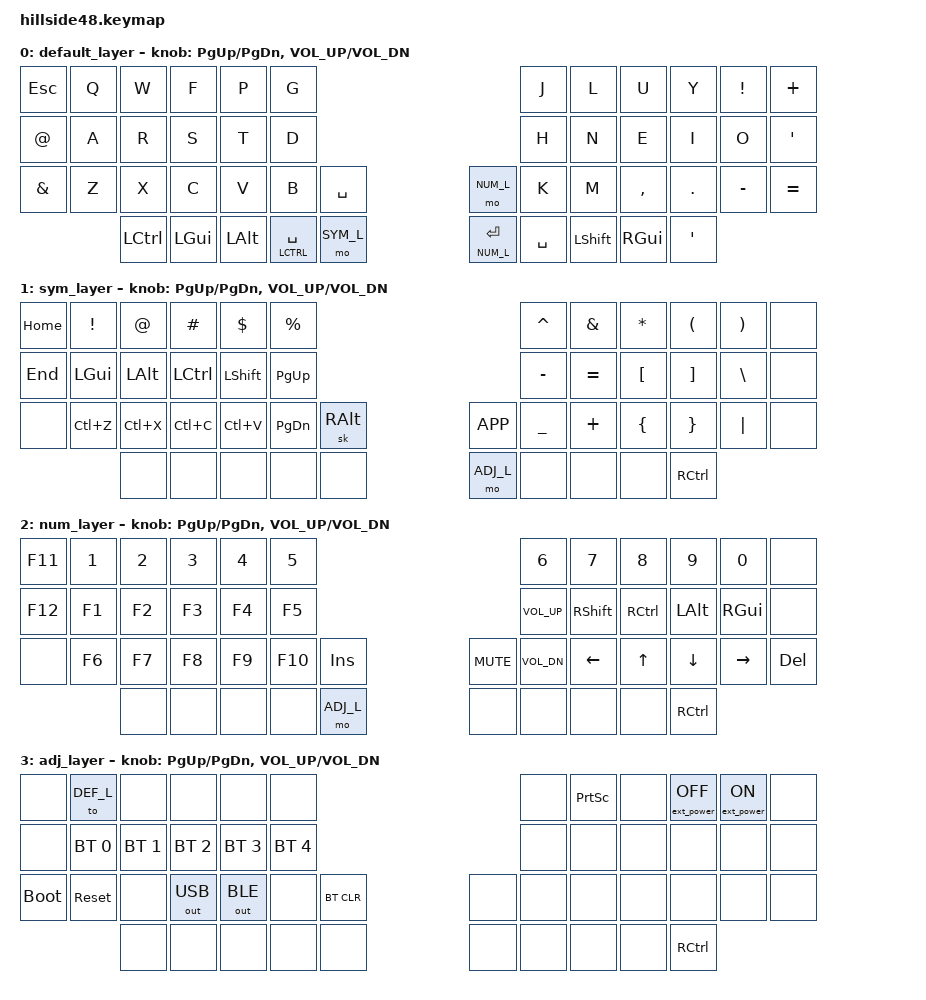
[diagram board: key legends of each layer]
/*
 * Copyright (c) 2022 The ZMK Contributors
 *
 * SPDX-License-Identifier: MIT
 */

#include <behaviors.dtsi>
#include <dt-bindings/zmk/bt.h>
#include <dt-bindings/zmk/ext_power.h>
#include <dt-bindings/zmk/keys.h>
#include <dt-bindings/zmk/outputs.h>

#define DEF_L 0
#define SYM_L    1
#define NUM_L    2
#define ADJ_L    3

#define Undo   LC(Z)
#define Cut    LC(X)
#define Copy   LC(C)
#define Paste  LC(V)

/ {
        keymap {
                compatible = "zmk,keymap";

                default_layer {
/* COLEMAK
 * -------------------------------------------------------------------------------------------------------------------------------------
 * |  ESC  |   Q   |   W   |   F   |   P   |   G   |-----------------------------------|   J   |   L   |   U   |   Y   |   !   |   +   |
 * |   @   |   A   |   R   |   S   |   T   |   D   |-----------------------------------|   H   |   N   |   E   |   I   |   O   |   '   |
 * |   &   |   Z   |   X   |   C   |   V   |   B   | SPACE |-------------------|  NUM  |   K   |   M   |   ,   |   .   |   -   |   =   |
 * ----------------| CTRL  |-------|  GUI  |  ALT  | CTRL  |  Sym  |---| ENTER | SPACE | SHIFT |  GUI  |-------|   '   |----------------
 */
                        bindings = <
&kp  ESC      &kp  Q        &kp  W        &kp  F        &kp  P        &kp  G                                                                               &kp  J        &kp  L        &kp  U        &kp  Y        &kp  EXCL     &kp  PLUS
&kp  AT       &kp  A        &kp  R        &kp  S        &kp  T        &kp  D                                                                               &kp  H        &kp  N        &kp  E        &kp  I        &kp  O        &kp  SQT  
&kp  AMPS     &kp  Z        &kp  X        &kp  C        &kp  V        &kp  B        &kp  SPACE                                               &mo  NUM_L    &kp  K        &kp  M        &kp  COMMA    &kp  DOT      &kp  MINUS    &kp  EQUAL
                            &kp  LCTRL                  &kp  LGUI     &kp  LALT     &lt LCTRL SPACE  &mo  SYM_L             &lt NUM_L ENTER  &kp  SPACE    &kp  LSHFT    &kp  RGUI                   &kp  SQT      
                        >;
			
                        sensor-bindings = <&inc_dec_kp PG_UP PG_DN &inc_dec_kp C_VOL_UP C_VOL_DN>;
                };
		
                sym_layer {
/* SYM
 * -------------------------------------------------------------------------------------------------------------------------------------
 * | HOME  |   !   |   @   |   #   |   $   |   %   |-----------------------------------|   ^   |   &   |   *   |   (   |   )   | BSPC  |
 * | END   |  GUI  |  Alt  | Ctrl  | Shift | Pg Up |-----------------------------------|   -   |   =   |   [   |   ]   |   \   | ENTER |
 * | Shift |  UnDo |  Cut  | Copy  | Paste | Pg Dn |OsAltGr|-------------------| MENU  |   _   |   +   |   {   |   }   |   |   | SHIFT |
 * ----------------|       |-------|       |       |       |       |---| ADJ_L |       |       |       |-------| CTRL  |----------------
 */
                        bindings = <
&kp  HOME     &kp  EXCL     &kp  AT       &kp  HASH     &kp  DOLLAR   &kp  PERCENT                                                                   &kp  CARET    &kp  AMPS     &kp  ASTRK    &kp  LPAR     &kp  RPAR     &none 
&kp  END      &kp  LGUI     &kp  LALT     &kp  LCTRL    &kp  LSHFT    &kp  PG_UP                                                                     &kp  MINUS    &kp  EQUAL    &kp  LBKT     &kp  RBKT     &kp  BSLH     &none 
&none         &kp  Undo     &kp  Cut      &kp  Copy     &kp  Paste    &kp  PG_DN    &sk  RALT                                          &kp  K_APP    &kp  UNDER    &kp  PLUS     &kp  LBRC     &kp  RBRC     &kp  PIPE     &none 
                            &none                       &none         &none         &none         &none                  &mo  ADJ_L    &none         &none         &none                       &kp  RCTRL    
                        >;
			
                        sensor-bindings = <&inc_dec_kp PG_UP PG_DN &inc_dec_kp C_VOL_UP C_VOL_DN>;
                };
		
                num_layer {
/* NUM   
 * -------------------------------------------------------------------------------------------------------------------------------------
 * | F11   |   1   |   2   |   3   |   4   |   5   |-----------------------------------|   6   |   7   |   8   |   9   |       | BSPC  |
 * | F12   |  F1   |  F2   |  F3   |  F4   |  F5   |-----------------------------------|VOL UP | Shift | Ctrl  | Alt   | Gui   | ENTER |
 * | Shift |  F6   |  F7   |  F8   |  F9   |  F10  |  INS  |-------------------| MUTE  |VOL DN | Left  |  Up   | Down  | Right | DELETE|
 * ----------------|       |-------|       |       |       | ADJ_L |---|       |       |       |       |-------| CTRL  |----------------
 */
                        bindings = <
&kp  F11      &kp  N1       &kp  N2       &kp  N3       &kp  N4       &kp  N5                                                                        &kp   N6      &kp   N7      &kp   N8      &kp   N9      &kp  N0       &none 
&kp  F12      &kp  F1       &kp  F2       &kp  F3       &kp  F4       &kp  F5                                                                        &kp  C_VOL_UP &kp   RSHFT   &kp   RCTRL   &kp   LALT    &kp  RGUI     &none 
&none         &kp  F6       &kp  F7       &kp  F8       &kp  F9       &kp  F10      &kp INS                                            &kp  C_MUTE   &kp  C_VOL_DN &kp   LEFT    &kp   UP      &kp   DOWN    &kp  RIGHT    &kp DEL
                            &none                       &none         &none         &none         &mo ADJ_L              &none         &none         &none         &none                       &kp  RCTRL   
                        >;
			
                        sensor-bindings = <&inc_dec_kp PG_UP PG_DN &inc_dec_kp C_VOL_UP C_VOL_DN>;
                };
		
                adj_layer {
/* ADJUST
 * -------------------------------------------------------------------------------------------------------------------------------------
 * |       | DEF_L |       |       |       |       |-----------------------------------|       |Prt Scr|       | EP_OFF| EP_ON |       |
 * |       | BT 0  | BT 1  | BT 2  | BT 3  | BT 4  |-----------------------------------|       |       |       |       |       |       |
 * | BOOTL | RESET |       |OUT_USB|OUT_BLE|       |BT CLR |-------------------|       |       |       |       |       |       | SHIFT |
 * ----------------|       |-------|       |       |       |       |---|       |       |       |       |-------| CTRL  |----------------
 */
                        bindings = <
&none         &to DEF_L     &none         &none         &none         &none                                                                             &none             &kp PRINTSCREEN    &none         &ext_power EP_OFF  &ext_power EP_ON &none
&none         &bt BT_SEL 0  &bt  BT_SEL 1 &bt  BT_SEL 2 &bt  BT_SEL 3 &bt  BT_SEL 4                                                                     &none             &none              &none            &none           &none            &none
&bootloader   &sys_reset    &none         &out OUT_USB  &out OUT_BLE  &none         &bt BT_CLR                                         &none            &none             &none              &none            &none           &none            &none 
                            &none                       &none         &none         &none         &none                  &none         &none            &none             &none                               &kp  RCTRL   
                        >;
			
                        sensor-bindings = <&inc_dec_kp PG_UP PG_DN &inc_dec_kp C_VOL_UP C_VOL_DN>;
                };
        };
};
